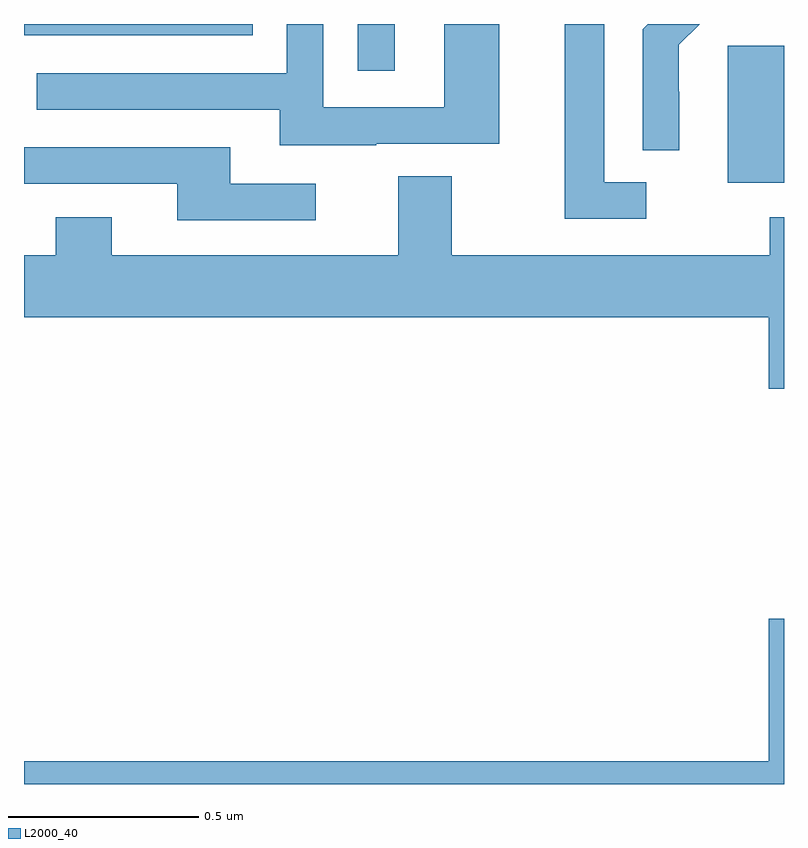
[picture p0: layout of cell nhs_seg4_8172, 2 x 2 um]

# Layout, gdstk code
import gdstk
lib = gdstk.Library(unit=1e-6, precision=1e-09)
def R(c, l, rs):  # rectangles x0, y0, x1, y1
    for r in rs: c.add(gdstk.rectangle(r[:2], r[2:], *l))
def P(c, l, *ps):  # polygons
    for p in ps: c.add(gdstk.Polygon(p, *l))
L2000_40 = (2000, 40)

nhs_seg4_8172 = lib.new_cell('nhs_seg4_8172')
R(nhs_seg4_8172, L2000_40, [(212.852,822.482,213,822.843), (211.878,822.777,211.975,822.9), (211,822.87,211.602,822.9)])
P(nhs_seg4_8172, L2000_40, [(212.638,822.483),(212.527,822.483),(212.527,822.9),(212.423,822.9),(212.423,822.387),(212.638,822.387)],
  [(212.724,822.722),(212.723,822.722),(212.723,822.845),(212.778,822.9),(212.642,822.9),(212.628,822.886),(212.628,822.568),(212.724,822.568)],
  [(211.927,822.585),(212.251,822.585),(212.251,822.9),(212.106,822.9),(212.106,822.681),(211.788,822.681),(211.788,822.9),(211.692,822.9),(211.692,822.771),(211.033,822.771),(211.033,822.675),(211.673,822.675),(211.673,822.581),(211.927,822.581)],
  [(211.768,822.48),(211.543,822.48),(211.543,822.576),(211,822.576),(211,822.48),(211.403,822.48),(211.403,822.384),(211.768,822.384)],
  [(213,822.391),(212.962,822.391),(212.962,822.292),(212.125,822.292),(212.125,822.5),(211.985,822.5),(211.985,822.292),(211.231,822.292),(211.231,822.391),(211.084,822.391),(211.084,822.292),(211,822.292),(211,822.128),(212.96,822.128),(212.96,821.94),(213,821.94)],
  [(213,821.335),(212.96,821.335),(212.96,820.96),(211,820.96),(211,820.9),(213,820.9)])

lib.write_gds('nhs_seg4_8172.gds')
